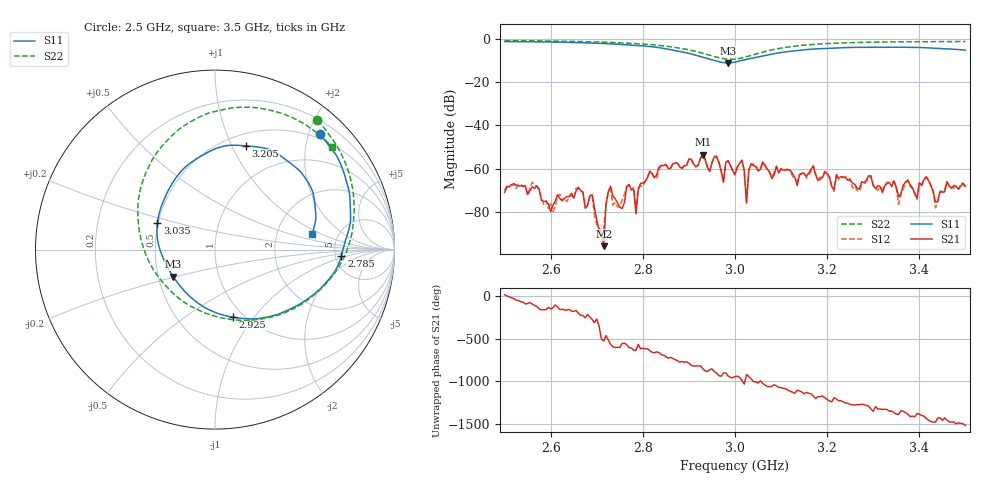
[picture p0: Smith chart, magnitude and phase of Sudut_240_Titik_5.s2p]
# Hz S RI R 50
! CMT, C1220, 16058040, 17.2.0/1
! Date: 15/08/2018 10:26:36
! Data: Format (Calibration Info)
! Freq  S11: Re/Im (F2)  S21: Re/Im (F2)  S12: Re/Im (F2)  S22: Re/Im (F2)
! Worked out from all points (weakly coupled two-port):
!   201 points, 2.5 GHz to 3.5 GHz, reference 50 ohm
!   highest |S21| = -53.62 dB at 2.93 GHz (marker M1); lowest = -95.9 dB at 2.715 GHz (marker M2)
!   lowest |S11| = -11.1 dB at 2.985 GHz (marker M3), VSWR 1.77, Z = 29.9 - j9.76 ohm
!   |S11| at or under -10 dB: 2.955 GHz to 3.014 GHz (59.7 MHz wide, 2 % of centre)
!   |S22| runs from -9.4 to -0.7 dB; largest |S21 - S12| = 0.00012
!   S11 on the Smith chart (normalised r, x): 2.5 GHz: 0.42, +2.19; 2.785 GHz: 5.65, -0.82; 2.925 GHz: 0.89, -0.79; 3.035 GHz: 0.50, +0.17; 3.205 GHz: 0.62, +1.13; 3.5 GHz: 3.22, +0.80
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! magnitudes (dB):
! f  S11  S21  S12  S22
! 2.5 GHz  -1.2  -71.1  -70.1  -0.7
! 2.67 GHz  -1.8  -70.7  -71.3  -1.3
! 2.715 GHz  -2.1  -95.9  -88.8  -1.5
! 2.77 GHz  -2.9  -67.3  -68.2  -2.0
! 2.785 GHz  -3.0  -81.0  -78.9  -2.2
! 2.835 GHz  -4.1  -59.4  -60.4  -3.0
! 2.925 GHz  -8.2  -55.2  -55.4  -6.3
! 2.93 GHz  -8.5  -53.6  -53.6  -6.6
! 2.975 GHz  -11.0  -66.3  -66.1  -9.1
! 2.985 GHz  -11.1  -56.4  -56.4  -9.4
! 3 GHz  -10.8  -62.6  -63.0  -9.4
! 3.015 GHz  -10.0  -56.1  -56.2  -8.8
! 3.025 GHz  -9.5  -76.0  -75.2  -8.3
! 3.035 GHz  -9.0  -57.8  -57.8  -7.7
! 3.135 GHz  -5.4  -67.8  -65.8  -3.2
! 3.17 GHz  -4.7  -58.9  -58.5  -2.6
! 3.205 GHz  -4.4  -64.0  -64.1  -2.1
! 3.335 GHz  -3.8  -66.5  -66.5  -1.4
! 3.355 GHz  -3.8  -73.0  -76.5  -1.4
! 3.415 GHz  -4.1  -63.8  -64.0  -1.3
! 3.435 GHz  -4.4  -75.4  -78.1  -1.3
! 3.5 GHz  -5.2  -68.2  -69.5  -1.2
